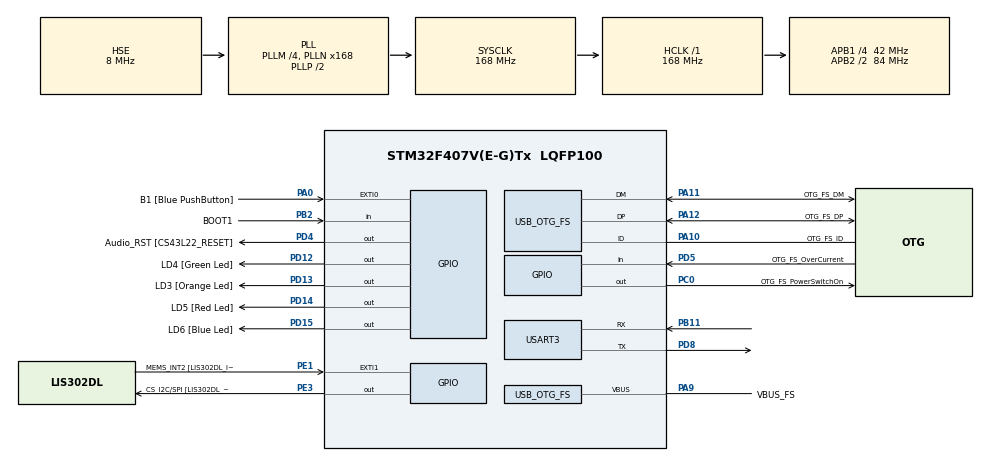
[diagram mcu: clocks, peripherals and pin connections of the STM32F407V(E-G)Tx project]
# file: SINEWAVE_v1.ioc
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Mcu.Family=STM32F4
Mcu.Name=STM32F407V(E-G)Tx
Mcu.Package=LQFP100
NVIC.PriorityGroup=NVIC_PRIORITYGROUP_0
PA0-WKUP.GPIO_Label=B1 [Blue PushButton]
PA0-WKUP.GPIO_ModeDefaultEXTI=GPIO_MODE_EVT_RISING
PA0-WKUP.GPIO_PuPd=GPIO_NOPULL
PA0-WKUP.Signal=GPXTI0
PA10.GPIO_Label=OTG_FS_ID
PA10.GPIO_Mode=GPIO_MODE_AF_PP
PA10.GPIO_PuPd=GPIO_NOPULL
PA10.GPIO_Speed=GPIO_SPEED_FREQ_LOW
PA10.Mode=OTG/Dual_Role_Device
PA10.Signal=USB_OTG_FS_ID
PA11.GPIO_Label=OTG_FS_DM
PA11.GPIO_Mode=GPIO_MODE_AF_PP
PA11.GPIO_PuPd=GPIO_NOPULL
PA11.GPIO_Speed=GPIO_SPEED_FREQ_LOW
PA11.Mode=OTG/Dual_Role_Device
PA11.Signal=USB_OTG_FS_DM
PA12.GPIO_Label=OTG_FS_DP
PA12.GPIO_Mode=GPIO_MODE_AF_PP
PA12.GPIO_PuPd=GPIO_NOPULL
PA12.GPIO_Speed=GPIO_SPEED_FREQ_LOW
PA12.Mode=OTG/Dual_Role_Device
PA12.Signal=USB_OTG_FS_DP
PA13.GPIO_Label=SWDIO
PA13.Mode=Serial_Wire
PA13.Signal=SYS_JTMS-SWDIO
PA14.GPIO_Label=SWCLK
PA14.Mode=Serial_Wire
PA14.Signal=SYS_JTCK-SWCLK
PA4.GPIO_Label=I2S3_WS [CS43L22_LRCK]
PA4.GPIO_Mode=GPIO_MODE_AF_PP
PA4.GPIO_PuPd=GPIO_NOPULL
PA4.GPIO_Speed=GPIO_SPEED_FREQ_LOW
PA4.Signal=I2S3_WS
PA5.GPIO_Label=SPI1_SCK [LIS302DL_SCL/SPC]
PA5.GPIO_Mode=GPIO_MODE_AF_PP
PA5.GPIO_PuPd=GPIO_NOPULL
PA5.GPIO_Speed=GPIO_SPEED_FREQ_LOW
PA5.Signal=SPI1_SCK
PA6.GPIO_Label=SPI1_MISO [LIS302DL_SDO]
PA6.GPIO_Mode=GPIO_MODE_AF_PP
PA6.GPIO_PuPd=GPIO_NOPULL
PA6.GPIO_Speed=GPIO_SPEED_FREQ_LOW
PA6.Signal=SPI1_MISO
PA7.GPIO_Label=SPI1_MOSI [LIS302DL_SDA/SDI/SDO]
PA7.GPIO_Mode=GPIO_MODE_AF_PP
PA7.GPIO_PuPd=GPIO_NOPULL
PA7.GPIO_Speed=GPIO_SPEED_FREQ_LOW
PA7.Signal=SPI1_MOSI
PA9.GPIO_Label=VBUS_FS
PA9.GPIO_Mode=GPIO_MODE_INPUT
PA9.GPIO_PuPd=GPIO_NOPULL
PA9.Mode=Activate_VBUS
PA9.Signal=USB_OTG_FS_VBUS
PB10.GPIO_Label=CLK_IN [MP45DT02_CLK]
PB10.GPIO_Mode=GPIO_MODE_AF_PP
PB10.GPIO_PuPd=GPIO_NOPULL
PB10.GPIO_Speed=GPIO_SPEED_FREQ_LOW
PB10.Signal=I2S2_CK
PB11.Mode=Asynchronous
PB11.Signal=USART3_RX
PB2.GPIO_Label=BOOT1
PB2.GPIO_Mode=GPIO_MODE_INPUT
PB2.GPIO_PuPd=GPIO_NOPULL
PB2.Signal=GPIO_Input
PB3.GPIO_Label=SWO
PB3.Signal=SYS_JTDO-SWO
PB6.GPIO_Label=Audio_SCL [CS43L22_SCL]
PB6.GPIO_Mode=GPIO_MODE_AF_OD
PB6.GPIO_Pu=GPIO_PULLUP
PB6.GPIO_PuPd=GPIO_NOPULL
PB6.GPIO_Speed=GPIO_SPEED_FREQ_LOW
PB6.Signal=I2C1_SCL
PB9.GPIO_Label=Audio_SDA [CS43L22_SDA]
PB9.GPIO_Mode=GPIO_MODE_AF_OD
PB9.GPIO_Pu=GPIO_PULLUP
PB9.GPIO_PuPd=GPIO_NOPULL
PB9.GPIO_Speed=GPIO_SPEED_FREQ_LOW
PB9.Signal=I2C1_SDA
PC0.GPIO_Label=OTG_FS_PowerSwitchOn
PC0.GPIO_PuPd=GPIO_NOPULL
PC0.GPIO_Speed=GPIO_SPEED_FREQ_LOW
PC0.PinState=GPIO_PIN_SET
PC0.Signal=GPIO_Output
PC10.GPIO_Label=I2S3_SCK [CS43L22_SCLK]
PC10.GPIO_Mode=GPIO_MODE_AF_PP
PC10.GPIO_PuPd=GPIO_NOPULL
PC10.GPIO_Speed=GPIO_SPEED_FREQ_LOW
PC10.Signal=I2S3_CK
PC12.GPIO_Label=I2S3_SD [CS43L22_SDIN]
PC12.GPIO_Mode=GPIO_MODE_AF_PP
PC12.GPIO_PuPd=GPIO_NOPULL
PC12.GPIO_Speed=GPIO_SPEED_FREQ_LOW
PC12.Signal=I2S3_SD
PC14-OSC32_IN.GPIO_Label=PC14-OSC32_IN
PC14-OSC32_IN.Mode=LSE-External-Oscillator
PC14-OSC32_IN.Signal=RCC_OSC32_IN
PC15-OSC32_OUT.GPIO_Label=PC15-OSC32_OUT
PC15-OSC32_OUT.Mode=LSE-External-Oscillator
PC15-OSC32_OUT.Signal=RCC_OSC32_OUT
PC3.GPIO_Label=PDM_OUT [MP45DT02_DOUT]
PC3.GPIO_Mode=GPIO_MODE_AF_PP
PC3.GPIO_PuPd=GPIO_NOPULL
PC3.GPIO_Speed=GPIO_SPEED_FREQ_LOW
PC3.Signal=I2S2_SD
PC7.GPIO_Label=I2S3_MCK [CS43L22_MCLK]
PC7.GPIO_Mode=GPIO_MODE_AF_PP
PC7.GPIO_PuPd=GPIO_NOPULL
PC7.GPIO_Speed=GPIO_SPEED_FREQ_LOW
PC7.Signal=I2S3_MCK
PD12.GPIO_Label=LD4 [Green Led]
PD12.GPIO_PuPd=GPIO_NOPULL
PD12.GPIO_Speed=GPIO_SPEED_FREQ_LOW
PD12.Signal=GPIO_Output
PD13.GPIO_Label=LD3 [Orange Led]
PD13.GPIO_PuPd=GPIO_NOPULL
PD13.GPIO_Speed=GPIO_SPEED_FREQ_LOW
PD13.Signal=GPIO_Output
PD14.GPIO_Label=LD5 [Red Led]
PD14.GPIO_PuPd=GPIO_NOPULL
PD14.GPIO_Speed=GPIO_SPEED_FREQ_LOW
PD14.Signal=GPIO_Output
PD15.GPIO_Label=LD6 [Blue Led]
PD15.GPIO_PuPd=GPIO_NOPULL
PD15.GPIO_Speed=GPIO_SPEED_FREQ_LOW
PD15.Signal=GPIO_Output
PD4.GPIO_Label=Audio_RST [CS43L22_RESET]
PD4.GPIO_PuPd=GPIO_NOPULL
PD4.GPIO_Speed=GPIO_SPEED_FREQ_LOW
PD4.Signal=GPIO_Output
PD5.GPIO_Label=OTG_FS_OverCurrent
PD5.GPIO_Mode=GPIO_MODE_INPUT
PD5.GPIO_PuPd=GPIO_NOPULL
PD5.Signal=GPIO_Input
PD8.Mode=Asynchronous
PD8.Signal=USART3_TX
PE1.GPIO_Label=MEMS_INT2 [LIS302DL_INT2]
PE1.GPIO_ModeDefaultEXTI=GPIO_MODE_EVT_RISING
PE1.GPIO_PuPd=GPIO_NOPULL
PE1.Signal=GPXTI1
PE3.GPIO_Label=CS_I2C/SPI [LIS302DL_CS_I2C/SPI]
PE3.GPIO_PuPd=GPIO_NOPULL
PE3.GPIO_Speed=GPIO_SPEED_FREQ_LOW
PE3.Signal=GPIO_Output
PH0-OSC_IN.GPIO_Label=PH0-OSC_IN
PH0-OSC_IN.Mode=HSE-External-Oscillator
PH0-OSC_IN.Signal=RCC_OSC_IN
PH1-OSC_OUT.GPIO_Label=PH1-OSC_OUT
PH1-OSC_OUT.Mode=HSE-External-Oscillator
PH1-OSC_OUT.Signal=RCC_OSC_OUT
ProjectManager.HeapSize=0x800
ProjectManager.StackSize=0x800
ProjectManager.TargetToolchain=STM32CubeIDE
RCC.48MHZClocksFreq_Value=48000000
RCC.AHBFreq_Value=168000000
RCC.APB1CLKDivider=RCC_HCLK_DIV4
RCC.APB1Freq_Value=42000000
RCC.APB1TimFreq_Value=84000000
RCC.APB2CLKDivider=RCC_HCLK_DIV2
RCC.APB2Freq_Value=84000000
RCC.APB2TimFreq_Value=168000000
RCC.CortexFreq_Value=168000000
RCC.HCLKFreq_Value=168000000
RCC.HSE_VALUE=8000000
RCC.HSI_VALUE=16000000
RCC.PLLI2SN=50
RCC.PLLM=4
RCC.PLLN=168
RCC.PLLQ=7
RCC.SYSCLKFreq_VALUE=168000000
RCC.SYSCLKSource=RCC_SYSCLKSOURCE_PLLCLK
RCC.VCOOutputFreq_Value=336000000
STMicroelectronics.X-CUBE-AI.9.1.0.ActivationBufferSizeList=128
STMicroelectronics.X-CUBE-AI.9.1.0.ActivationBuffers=pool0
STMicroelectronics.X-CUBE-AI.9.1.0.ActivationNames=pool0
STMicroelectronics.X-CUBE-AI.9.1.0.ActivationSizes=AI_SINEWAVE_DATA_ACTIVATION_1_SIZE
STMicroelectronics.X-CUBE-AI.9.1.0.HeapSize=0x800
STMicroelectronics.X-CUBE-AI.9.1.0.InternalRamActivationBufferMaxSize=AI_SINEWAVE_DATA_ACTIVATIONS_SIZE
STMicroelectronics.X-CUBE-AI.9.1.0.LatestDirectoryUsed-7893616f562080841f2a8c3706046a64a66e0b46335847eb8d6dd8198beb4b2d=/Users/kithminrw/STM32Cube/SINEWAVE_v1/SINEWAVE_v1
STMicroelectronics.X-CUBE-AI.9.1.0.MaximumNumberOfInputLayer=1
STMicroelectronics.X-CUBE-AI.9.1.0.MaximumNumberOfOutputLayer=1
STMicroelectronics.X-CUBE-AI.9.1.0.MaximumSizeOfInputLayer=1
STMicroelectronics.X-CUBE-AI.9.1.0.MaximumSizeOfOutputLayer=1
STMicroelectronics.X-CUBE-AI.9.1.0.ModelActualCompression-7893616f562080841f2a8c3706046a64a66e0b46335847eb8d6dd8198beb4b2d=0.0
STMicroelectronics.X-CUBE-AI.9.1.0.ModelCompression-7893616f562080841f2a8c3706046a64a66e0b46335847eb8d6dd8198beb4b2d=None
STMicroelectronics.X-CUBE-AI.9.1.0.ModelFlashOccupation-7893616f562080841f2a8c3706046a64a66e0b46335847eb8d6dd8198beb4b2d=1284
STMicroelectronics.X-CUBE-AI.9.1.0.ModelHashList=7893616f562080841f2a8c3706046a64a66e0b46335847eb8d6dd8198beb4b2d
STMicroelectronics.X-CUBE-AI.9.1.0.ModelKind-7893616f562080841f2a8c3706046a64a66e0b46335847eb8d6dd8198beb4b2d=TFLITE
STMicroelectronics.X-CUBE-AI.9.1.0.ModelMacc-7893616f562080841f2a8c3706046a64a66e0b46335847eb8d6dd8198beb4b2d=353
STMicroelectronics.X-CUBE-AI.9.1.0.ModelName-7893616f562080841f2a8c3706046a64a66e0b46335847eb8d6dd8198beb4b2d=sinewave
STMicroelectronics.X-CUBE-AI.9.1.0.ModelNameList=sinewave
STMicroelectronics.X-CUBE-AI.9.1.0.ModelRamOccupation-7893616f562080841f2a8c3706046a64a66e0b46335847eb8d6dd8198beb4b2d=128
STMicroelectronics.X-CUBE-AI.9.1.0.ModelStructureFile-7893616f562080841f2a8c3706046a64a66e0b46335847eb8d6dd8198beb4b2d=sinewave_model.tflite
STMicroelectronics.X-CUBE-AI.9.1.0.ModelType-7893616f562080841f2a8c3706046a64a66e0b46335847eb8d6dd8198beb4b2d=STM32Cube.AI MCU runtime
STMicroelectronics.X-CUBE-AI.9.1.0.ReadyForCodeGeneration=true
STMicroelectronics.X-CUBE-AI.9.1.0.StackSize=0x800
STMicroelectronics.X-CUBE-AI.9.1.0.WorkingBufferStartAddrList=0xFFFFFFFF
STMicroelectronics.X-CUBE-AI.9.1.0.XAaCUBEAaAICcArtificialOoIntelligenceJjCore=true
STMicroelectronics.X-CUBE-AI.9.1.0.copyWeightToRam=false
STMicroelectronics.X-CUBE-AI.9.1.0.copyWeightToRam-7893616f562080841f2a8c3706046a64a66e0b46335847eb8d6dd8198beb4b2d=false
STMicroelectronics.X-CUBE-AI.9.1.0.customLayerConfigEnabled=false
STMicroelectronics.X-CUBE-AI.9.1.0.customLayerConfigEnabled-7893616f562080841f2a8c3706046a64a66e0b46335847eb8d6dd8198beb4b2d=false
STMicroelectronics.X-CUBE-AI.9.1.0.noOnnxIoTranspose=false
STMicroelectronics.X-CUBE-AI.9.1.0.noOnnxIoTranspose-7893616f562080841f2a8c3706046a64a66e0b46335847eb8d6dd8198beb4b2d=false
STMicroelectronics.X-CUBE-AI.9.1.0.outputDirectory=/Users/kithminrw/.stm32cubemx/sinewave_output
STMicroelectronics.X-CUBE-AI.9.1.0.useInputAllocation=true
STMicroelectronics.X-CUBE-AI.9.1.0.useInputAllocation-7893616f562080841f2a8c3706046a64a66e0b46335847eb8d6dd8198beb4b2d=true
STMicroelectronics.X-CUBE-AI.9.1.0.useOutputAllocation=true
STMicroelectronics.X-CUBE-AI.9.1.0.useOutputAllocation-7893616f562080841f2a8c3706046a64a66e0b46335847eb8d6dd8198beb4b2d=true
USART3.VirtualMode=VM_ASYNC
VP_CRC_VS_CRC.Mode=CRC_Activate
VP_STMicroelectronics.X-CUBE-AI_VS_ArtificialOoIntelligenceJjXAaCUBEAaAI_9.1.0.Mode=ArtificialOoIntelligenceJjXAaCUBEAaAI
board=STM32F407G-DISC1

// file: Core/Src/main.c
/* USER CODE BEGIN Header */
/**
  ******************************************************************************
  * @file           : main.c
  * @brief          : Main program body
  ******************************************************************************
  * @attention
  *
  * Copyright (c) 2024 STMicroelectronics.
  * All rights reserved.
  *
  * This software is licensed under terms that can be found in the LICENSE file
  * in the root directory of this software component.
  * If no LICENSE file comes with this software, it is provided AS-IS.
  *
  ******************************************************************************
  */
/* USER CODE END Header */
#include "main.h"
#include "crc.h"
#include "usart.h"
#include "usb_otg.h"
#include "gpio.h"

/* USER CODE BEGIN Includes */
#include <stdio.h>
#include "string.h"
#include "ai_datatypes_defines.h"
#include "ai_platform.h"
#include "sinewave.h"
#include "sinewave_data.h"

/* USER CODE END Includes */

void SystemClock_Config(void);

int main(void)
{

  /* USER CODE BEGIN 1 */
  char buf[50];
  int buf_len = 0;
  ai_error err;
  ai_i32 nbatch;
  ai_network_report report;
  float y_val = 0;

  // Chunck of memmory used to hold intermediate values for NN
  ai_u8 activations[AI_SINEWAVE_DATA_ACTIVATIONS_SIZE];
  //ai_u8 weithtsNew[AI_SINEWAVE_DATA_WEIGHTS_SIZE];

  //Buffers used to store input and output tensors
  AI_ALIGNED(4) ai_u8 in_data[AI_SINEWAVE_IN_1_SIZE_BYTES];
  AI_ALIGNED(4) ai_u8 out_data[AI_SINEWAVE_OUT_1_SIZE_BYTES];

  // Pointers to our model
  ai_handle network = AI_HANDLE_NULL;

  /* AI buffer IO handlers */
  ai_buffer *ai_input;
  ai_buffer *ai_output;

  /* USER CODE END 1 */

  /* MCU Configuration--------------------------------------------------------*/

  /* Reset of all peripherals, Initializes the Flash interface and the Systick. */
  HAL_Init();

  /* Configure the system clock */
  SystemClock_Config();

  /* Initialize all configured peripherals */
  MX_GPIO_Init();
  MX_USART3_UART_Init();
  MX_CRC_Init();
  MX_USB_OTG_FS_USB_Init();
  /* USER CODE BEGIN 2 */
  buf_len = sprintf(buf, "\r\n\r\nSTM32 X-Cube-AI test\r\n");
  HAL_UART_Transmit(&huart3, (uint8_t *)buf, buf_len, 100);

  /** @brief Initialize network */
  const ai_handle acts[] = { activations };

  err = ai_sinewave_create_and_init(&network, acts, NULL);
  if (err.type != AI_ERROR_NONE) {
	  buf_len = sprintf(buf, "Error: could not create NN instance\r\n");
	  HAL_UART_Transmit(&huart3, (uint8_t *)buf, buf_len, 100);
	  //return -1;
  }
  else
  {
	  buf_len = sprintf(buf, "Success in creating NN instance\r\n");
	  HAL_UART_Transmit(&huart3, (uint8_t *)buf, buf_len, 100);
  }

  if (ai_sinewave_get_report(network, &report) != true) {
	  buf_len = sprintf(buf, "AI get report error\r\n");
	  HAL_UART_Transmit(&huart3, (uint8_t *)buf, buf_len, 100);
  }
  /*
  buf_len = sprintf(buf, "Model name      : ");
  HAL_UART_Transmit(&huart3, (uint8_t *)buf, buf_len, 100);
  buf_len = sprintf(buf, report.model_name);
  HAL_UART_Transmit(&huart3, (uint8_t *)buf, buf_len, 100);
  buf_len = sprintf(buf, "\nModel signature : ");
  HAL_UART_Transmit(&huart3, (uint8_t *)buf, buf_len, 100);
  buf_len = sprintf(buf, report.model_signature);
  HAL_UART_Transmit(&huart3, (uint8_t *)buf, buf_len, 100);
  */
  ai_input = &report.inputs[0];
  ai_output = &report.outputs[0];

  //link inputs and outputs to the model
  ai_input[0].data = AI_HANDLE_PTR(in_data);
  ai_output[0].data = AI_HANDLE_PTR(out_data);

  // Create instance of neural network
  /* USER CODE END 2 */

  /* Infinite loop */
  /* USER CODE BEGIN WHILE */
  while (1){
	  float x = 0.0f;
	  buf_len = sprintf(buf, "\r\n\r\nStarting inference... \r\n");
	  HAL_UART_Transmit(&huart3, (uint8_t *)buf, buf_len, 100);
	  for (int i = 0 ; i < 628; i++){  // Adjust the number 628 to create more sampling points
		  x = x + 0.01; // 628 x 0.01 = 6.28; Always keep the multiplication to 6.28 to create one sine wave; Try 6280 x 0.001

		  for (uint32_t j = 0; j < AI_SINEWAVE_IN_1_SIZE_BYTES; j++)
			  {
				((ai_float *)in_data)[j] = (ai_float)x;
			  }

		  nbatch = ai_sinewave_run(network, &ai_input[0], &ai_output[0]);
		  if (nbatch != 1) {
			  buf_len = sprintf(buf, "Error: could not run inference\r\n");
			  HAL_UART_Transmit(&huart3, (uint8_t *)buf, buf_len, 100);
			}

		  y_val = ((float *)out_data)[0];

		  buf_len = sprintf(buf, "%f \r\n", y_val);

		  HAL_UART_Transmit(&huart3, (uint8_t *)buf, buf_len, 100);

		  HAL_Delay (10);
    }
	  while(1);
    /* USER CODE END WHILE */

  }
}

void SystemClock_Config(void)
{
  RCC_OscInitTypeDef RCC_OscInitStruct = {0};
  RCC_ClkInitTypeDef RCC_ClkInitStruct = {0};

  /** Configure the main internal regulator output voltage
  */
  __HAL_RCC_PWR_CLK_ENABLE();
  __HAL_PWR_VOLTAGESCALING_CONFIG(PWR_REGULATOR_VOLTAGE_SCALE1);

  /** Initializes the RCC Oscillators according to the specified parameters
  * in the RCC_OscInitTypeDef structure.
  */
  RCC_OscInitStruct.OscillatorType = RCC_OSCILLATORTYPE_HSE;
  RCC_OscInitStruct.HSEState = RCC_HSE_ON;
  RCC_OscInitStruct.PLL.PLLState = RCC_PLL_ON;
  RCC_OscInitStruct.PLL.PLLSource = RCC_PLLSOURCE_HSE;
  RCC_OscInitStruct.PLL.PLLM = 4;
  RCC_OscInitStruct.PLL.PLLN = 168;
  RCC_OscInitStruct.PLL.PLLP = RCC_PLLP_DIV2;
  RCC_OscInitStruct.PLL.PLLQ = 7;
  if (HAL_RCC_OscConfig(&RCC_OscInitStruct) != HAL_OK)
  {
    Error_Handler();
  }

  /** Initializes the CPU, AHB and APB buses clocks
  */
  RCC_ClkInitStruct.ClockType = RCC_CLOCKTYPE_HCLK|RCC_CLOCKTYPE_SYSCLK
                              |RCC_CLOCKTYPE_PCLK1|RCC_CLOCKTYPE_PCLK2;
  RCC_ClkInitStruct.SYSCLKSource = RCC_SYSCLKSOURCE_PLLCLK;
  RCC_ClkInitStruct.AHBCLKDivider = RCC_SYSCLK_DIV1;
  RCC_ClkInitStruct.APB1CLKDivider = RCC_HCLK_DIV4;
  RCC_ClkInitStruct.APB2CLKDivider = RCC_HCLK_DIV2;

  if (HAL_RCC_ClockConfig(&RCC_ClkInitStruct, FLASH_LATENCY_5) != HAL_OK)
  {
    Error_Handler();
  }
}

void Error_Handler(void)
{
  __disable_irq();
  while (1)
  {
  }
}
